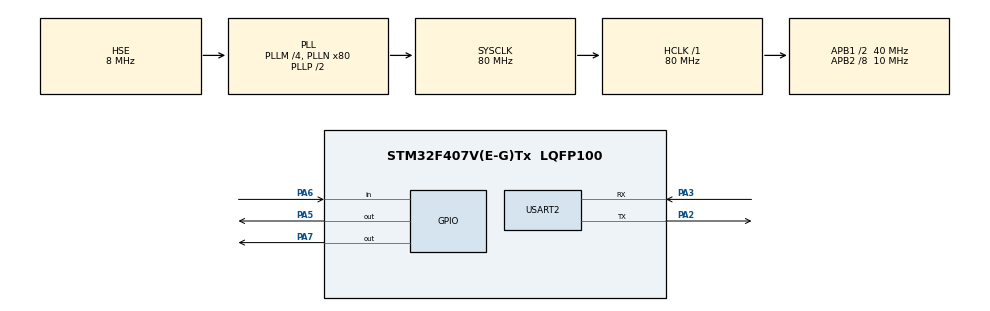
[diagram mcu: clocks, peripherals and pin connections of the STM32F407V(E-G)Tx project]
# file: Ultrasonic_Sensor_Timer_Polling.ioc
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Mcu.Family=STM32F4
Mcu.Name=STM32F407V(E-G)Tx
Mcu.Package=LQFP100
NVIC.PriorityGroup=NVIC_PRIORITYGROUP_0
PA13.Mode=Serial_Wire
PA13.Signal=SYS_JTMS-SWDIO
PA14.Mode=Serial_Wire
PA14.Signal=SYS_JTCK-SWCLK
PA2.Mode=Asynchronous
PA2.Signal=USART2_TX
PA3.Mode=Asynchronous
PA3.Signal=USART2_RX
PA5.Signal=GPIO_Output
PA6.Signal=GPIO_Input
PA7.Signal=GPIO_Output
PH0-OSC_IN.Mode=HSE-External-Oscillator
PH0-OSC_IN.Signal=RCC_OSC_IN
PH1-OSC_OUT.Mode=HSE-External-Oscillator
PH1-OSC_OUT.Signal=RCC_OSC_OUT
ProjectManager.HeapSize=0x200
ProjectManager.StackSize=0x400
ProjectManager.TargetToolchain=STM32CubeIDE
RCC.48MHZClocksFreq_Value=22857142.85714286
RCC.AHBFreq_Value=80000000
RCC.APB1CLKDivider=RCC_HCLK_DIV2
RCC.APB1Freq_Value=40000000
RCC.APB1TimFreq_Value=80000000
RCC.APB2CLKDivider=RCC_HCLK_DIV8
RCC.APB2Freq_Value=10000000
RCC.APB2TimFreq_Value=20000000
RCC.CortexFreq_Value=80000000
RCC.HCLKFreq_Value=80000000
RCC.HSE_VALUE=8000000
RCC.HSI_VALUE=16000000
RCC.LSE_VALUE=32768
RCC.PLLM=4
RCC.PLLN=80
RCC.PLLQ=7
RCC.PLLSourceVirtual=RCC_PLLSOURCE_HSE
RCC.SYSCLKFreq_VALUE=80000000
RCC.SYSCLKSource=RCC_SYSCLKSOURCE_PLLCLK
RCC.VCOOutputFreq_Value=160000000
TIM8.Period=65535
TIM8.Prescaler=19
USART2.VirtualMode=VM_ASYNC
VP_TIM8_VS_ClockSourceINT.Mode=Internal
board=STM32F407G-DISC1

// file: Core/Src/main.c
/* USER CODE BEGIN Header */
/**
  ******************************************************************************
  * @file           : main.c
  * @brief          : Main program body
  ******************************************************************************
  * @attention
  *
  * Copyright (c) 2026 STMicroelectronics.
  * All rights reserved.
  *
  * This software is licensed under terms that can be found in the LICENSE file
  * in the root directory of this software component.
  * If no LICENSE file comes with this software, it is provided AS-IS.
  *
  ******************************************************************************
  */
/* USER CODE END Header */
#include "main.h"

/* USER CODE BEGIN Includes */

#include "stdio.h"
#include "string.h"

/* USER CODE END Includes */

TIM_HandleTypeDef htim8;

UART_HandleTypeDef huart2;

/* USER CODE BEGIN PV */

char uss_buff[30];
char newline[] = {"\r\n"};
uint16_t time_uss;
float distance;
int distance_int;

/* USER CODE END PV */

void SystemClock_Config(void);
static void MX_GPIO_Init(void);
static void MX_TIM8_Init(void);
static void MX_USART2_UART_Init(void);

/* USER CODE BEGIN 0 */

void delay_us(uint16_t us)
{
    uint16_t start = __HAL_TIM_GET_COUNTER(&htim8);

    while((__HAL_TIM_GET_COUNTER(&htim8) - start) < us);
}

void HCSR04_Trigger(void)
{
	//Trigger port pin configuration

    HAL_GPIO_WritePin(GPIOA, GPIO_PIN_5, GPIO_PIN_RESET);
    HAL_Delay(1);  // settle

    HAL_GPIO_WritePin(GPIOA, GPIO_PIN_5, GPIO_PIN_SET);
    delay_us(10);  // 10 µs pulse
    HAL_GPIO_WritePin(GPIOA, GPIO_PIN_5, GPIO_PIN_RESET);
}

uint32_t HCSR04_Read(void)
{
    uint32_t time = 0;

    // Wait for ECHO HIGH (with timeout)
    uint32_t timeout = __HAL_TIM_GET_COUNTER(&htim8);
    while(HAL_GPIO_ReadPin(GPIOA, GPIO_PIN_6) == GPIO_PIN_RESET)
    {
        if((__HAL_TIM_GET_COUNTER(&htim8) - timeout) > 30000)
            return 0;  // timeout
    }

    // Start time
    uint32_t start = __HAL_TIM_GET_COUNTER(&htim8);

    // Wait for ECHO LOW
    timeout = start;
    while(HAL_GPIO_ReadPin(GPIOA, GPIO_PIN_6) == GPIO_PIN_SET)
    {
        if((__HAL_TIM_GET_COUNTER(&htim8) - timeout) > 30000)
            return 0;  // timeout
    }

    // End time
    time = __HAL_TIM_GET_COUNTER(&htim8) - start;

    return time;
}

/* USER CODE END 0 */

int main(void)
{

  /* MCU Configuration--------------------------------------------------------*/

  /* Reset of all peripherals, Initializes the Flash interface and the Systick. */
  HAL_Init();

  /* Configure the system clock */
  SystemClock_Config();

  /* Initialize all configured peripherals */
  MX_GPIO_Init();
  MX_TIM8_Init();
  MX_USART2_UART_Init();
  /* USER CODE BEGIN 2 */

  HAL_TIM_Base_Start(&htim8);

  /* USER CODE END 2 */

  /* Infinite loop */
  /* USER CODE BEGIN WHILE */

  while (1)
  {
	HCSR04_Trigger();
	//delay_us(60);   // small wait for sensor response
	time_uss = HCSR04_Read();

	if(time_uss == 0 || time_uss > 5800)
	{
	    sprintf(uss_buff,"Out of range");
		HAL_GPIO_WritePin(GPIOA, GPIO_PIN_7, GPIO_PIN_RESET);
	}
	else
	{
	    distance = (float)time_uss / 58.0f;
	    distance_int = (int)(distance * 100);

	    sprintf(uss_buff,"Distance = %d.%02d cm",
	            distance_int/100,
	            distance_int % 100);

		HAL_GPIO_WritePin(GPIOA, GPIO_PIN_7, GPIO_PIN_SET);
	}

	HAL_UART_Transmit(&huart2, (uint8_t *)uss_buff, strlen(uss_buff) , HAL_MAX_DELAY);
	HAL_UART_Transmit(&huart2, (uint8_t *)newline, strlen(newline) , HAL_MAX_DELAY);

	HAL_Delay(2000);

    /* USER CODE END WHILE */

  }
}

void SystemClock_Config(void)
{
  RCC_OscInitTypeDef RCC_OscInitStruct = {0};
  RCC_ClkInitTypeDef RCC_ClkInitStruct = {0};

  /** Configure the main internal regulator output voltage
  */
  __HAL_RCC_PWR_CLK_ENABLE();
  __HAL_PWR_VOLTAGESCALING_CONFIG(PWR_REGULATOR_VOLTAGE_SCALE1);

  /** Initializes the RCC Oscillators according to the specified parameters
  * in the RCC_OscInitTypeDef structure.
  */
  RCC_OscInitStruct.OscillatorType = RCC_OSCILLATORTYPE_HSE;
  RCC_OscInitStruct.HSEState = RCC_HSE_ON;
  RCC_OscInitStruct.PLL.PLLState = RCC_PLL_ON;
  RCC_OscInitStruct.PLL.PLLSource = RCC_PLLSOURCE_HSE;
  RCC_OscInitStruct.PLL.PLLM = 4;
  RCC_OscInitStruct.PLL.PLLN = 80;
  RCC_OscInitStruct.PLL.PLLP = RCC_PLLP_DIV2;
  RCC_OscInitStruct.PLL.PLLQ = 7;
  if (HAL_RCC_OscConfig(&RCC_OscInitStruct) != HAL_OK)
  {
    Error_Handler();
  }

  /** Initializes the CPU, AHB and APB buses clocks
  */
  RCC_ClkInitStruct.ClockType = RCC_CLOCKTYPE_HCLK|RCC_CLOCKTYPE_SYSCLK
                              |RCC_CLOCKTYPE_PCLK1|RCC_CLOCKTYPE_PCLK2;
  RCC_ClkInitStruct.SYSCLKSource = RCC_SYSCLKSOURCE_PLLCLK;
  RCC_ClkInitStruct.AHBCLKDivider = RCC_SYSCLK_DIV1;
  RCC_ClkInitStruct.APB1CLKDivider = RCC_HCLK_DIV2;
  RCC_ClkInitStruct.APB2CLKDivider = RCC_HCLK_DIV8;

  if (HAL_RCC_ClockConfig(&RCC_ClkInitStruct, FLASH_LATENCY_2) != HAL_OK)
  {
    Error_Handler();
  }
}

static void MX_TIM8_Init(void)
{

  TIM_ClockConfigTypeDef sClockSourceConfig = {0};
  TIM_MasterConfigTypeDef sMasterConfig = {0};

  htim8.Instance = TIM8;
  htim8.Init.Prescaler = 19;
  htim8.Init.CounterMode = TIM_COUNTERMODE_UP;
  htim8.Init.Period = 65535;
  htim8.Init.ClockDivision = TIM_CLOCKDIVISION_DIV1;
  htim8.Init.RepetitionCounter = 0;
  htim8.Init.AutoReloadPreload = TIM_AUTORELOAD_PRELOAD_DISABLE;
  if (HAL_TIM_Base_Init(&htim8) != HAL_OK)
  {
    Error_Handler();
  }
  sClockSourceConfig.ClockSource = TIM_CLOCKSOURCE_INTERNAL;
  if (HAL_TIM_ConfigClockSource(&htim8, &sClockSourceConfig) != HAL_OK)
  {
    Error_Handler();
  }
  sMasterConfig.MasterOutputTrigger = TIM_TRGO_RESET;
  sMasterConfig.MasterSlaveMode = TIM_MASTERSLAVEMODE_DISABLE;
  if (HAL_TIMEx_MasterConfigSynchronization(&htim8, &sMasterConfig) != HAL_OK)
  {
    Error_Handler();
  }

}

static void MX_USART2_UART_Init(void)
{

  huart2.Instance = USART2;
  huart2.Init.BaudRate = 115200;
  huart2.Init.WordLength = UART_WORDLENGTH_8B;
  huart2.Init.StopBits = UART_STOPBITS_1;
  huart2.Init.Parity = UART_PARITY_NONE;
  huart2.Init.Mode = UART_MODE_TX_RX;
  huart2.Init.HwFlowCtl = UART_HWCONTROL_NONE;
  huart2.Init.OverSampling = UART_OVERSAMPLING_16;
  if (HAL_UART_Init(&huart2) != HAL_OK)
  {
    Error_Handler();
  }

}

static void MX_GPIO_Init(void)
{
  GPIO_InitTypeDef GPIO_InitStruct = {0};

  /* GPIO Ports Clock Enable */
  __HAL_RCC_GPIOH_CLK_ENABLE();
  __HAL_RCC_GPIOA_CLK_ENABLE();

  /*Configure GPIO pin Output Level */
  HAL_GPIO_WritePin(GPIOA, GPIO_PIN_5|GPIO_PIN_7, GPIO_PIN_RESET);

  /*Configure GPIO pins : PA5 PA7 */
  GPIO_InitStruct.Pin = GPIO_PIN_5|GPIO_PIN_7;
  GPIO_InitStruct.Mode = GPIO_MODE_OUTPUT_PP;
  GPIO_InitStruct.Pull = GPIO_NOPULL;
  GPIO_InitStruct.Speed = GPIO_SPEED_FREQ_LOW;
  HAL_GPIO_Init(GPIOA, &GPIO_InitStruct);

  /*Configure GPIO pin : PA6 */
  GPIO_InitStruct.Pin = GPIO_PIN_6;
  GPIO_InitStruct.Mode = GPIO_MODE_INPUT;
  GPIO_InitStruct.Pull = GPIO_NOPULL;
  HAL_GPIO_Init(GPIOA, &GPIO_InitStruct);

}

void Error_Handler(void)
{
  __disable_irq();
  while (1)
  {
  }
}
